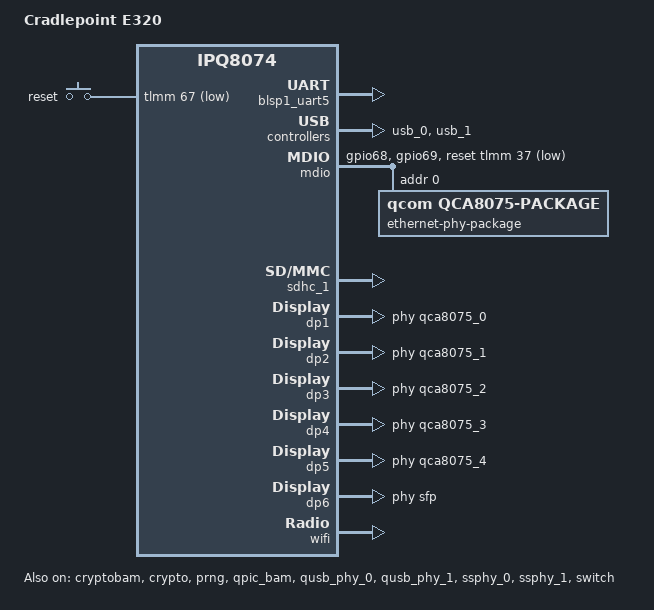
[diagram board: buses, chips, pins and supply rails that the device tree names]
// SPDX-License-Identifier: GPL-2.0-or-later OR MIT
/* Copyright (c) 2023, Chukun Pan <amadeus@jmu.edu.cn> */

/dts-v1/;

#include "ipq8074.dtsi"
#include "ipq8074-hk-cpu.dtsi"
#include "ipq8074-ess.dtsi"
#include "ipq8074-nss.dtsi"
#include <dt-bindings/gpio/gpio.h>
#include <dt-bindings/input/input.h>
#include <dt-bindings/leds/common.h>

/ {
	model = "Cradlepoint E320";
	compatible = "cradlepoint,e320", "qcom,ipq8074";

	aliases {
		serial0 = &blsp1_uart5;
		/*
		 * Aliases as required by u-boot
		 * to patch MAC addresses
		 */
		ethernet0 = &dp1;
		ethernet1 = &dp2;
		ethernet2 = &dp3;
		ethernet3 = &dp4;
		ethernet4 = &dp5;
		ethernet5 = &dp6;
		label-mac-device = &dp1;
	};

	chosen {
		stdout-path = "serial0:115200n8";
	};

	keys {
		compatible = "gpio-keys";

		reset {
			label = "reset";
			linux,code = <KEY_RESTART>;
			gpios = <&tlmm 67 GPIO_ACTIVE_LOW>;
		};
	};
};

&tlmm {
	mdio_pins: mdio-pins {
		mdc {
			pins = "gpio68";
			function = "mdc";
			drive-strength = <8>;
			bias-pull-up;
		};

		mdio {
			pins = "gpio69";
			function = "mdio";
			drive-strength = <8>;
			bias-pull-up;
		};
	};
};

&blsp1_uart5 {
	status = "okay";
};

&cryptobam {
	status = "okay";
};

&crypto {
	status = "okay";
};

&prng {
	status = "okay";
};

&qpic_bam {
	status = "okay";
};

&qusb_phy_0 {
	status = "okay";
};

&qusb_phy_1 {
	status = "okay";
};

&ssphy_0 {
	status = "okay";
};

&ssphy_1 {
	status = "okay";
};

&usb_0 {
	status = "okay";
};

&usb_1 {
	status = "okay";
};

&mdio {
	status = "okay";

	pinctrl-0 = <&mdio_pins>;
	pinctrl-names = "default";
	reset-gpios = <&tlmm 37 GPIO_ACTIVE_LOW>;

	ethernet-phy-package@0 {
		compatible = "qcom,qca8075-package";
		#address-cells = <1>;
		#size-cells = <0>;
		reg = <0>;

		qcom,package-mode = "psgmii";

		qca8075_0: ethernet-phy@0 {
			compatible = "ethernet-phy-ieee802.3-c22";
			reg = <0>;
		};

		qca8075_1: ethernet-phy@1 {
			compatible = "ethernet-phy-ieee802.3-c22";
			reg = <1>;
		};

		qca8075_2: ethernet-phy@2 {
			compatible = "ethernet-phy-ieee802.3-c22";
			reg = <2>;
		};

		qca8075_3: ethernet-phy@3 {
			compatible = "ethernet-phy-ieee802.3-c22";
			reg = <3>;
		};

		qca8075_4: ethernet-phy@4 {
			compatible = "ethernet-phy-ieee802.3-c22";
			reg = <4>;
		};
	};
};

&sdhc_1 {
	status = "okay";

	/* According to the stock dts from the QNAP gpl drop
	 * the emmc has a problem with the hs400 > hs200 speed switch.
	 * Therefore remove the mmc-hs400-1_8v property
	*/
	/delete-property/ mmc-hs400-1_8v;
	mmc-hs200-1_8v;
	mmc-ddr-1_8v;
	vqmmc-supply = <&l11>;
};

&switch {
	status = "okay";

	switch_lan_bmp = <(ESS_PORT2 | ESS_PORT3 | ESS_PORT4 | ESS_PORT5 | ESS_PORT6)>; /* lan port bitmap */
	switch_wan_bmp = <ESS_PORT1>; /* wan port bitmap */
	switch_mac_mode = <MAC_MODE_PSGMII>; /* mac mode for uniphy instance0*/
	switch_mac_mode2 = <MAC_MODE_10GBASE_R>; /* mac mode for uniphy instance2*/

	qcom,port_phyinfo {
		port@1 {
			port_id = <1>;
			phy_address = <0>;
		};
		port@2 {
			port_id = <2>;
			phy_address = <1>;
		};
		port@3 {
			port_id = <3>;
			phy_address = <2>;
		};
		port@4 {
			port_id = <4>;
			phy_address = <3>;
		};
		port@5 {
			port_id = <5>;
			phy_address = <4>;
		};
		sfp: port@6 {
			port_id = <6>;
			phy_address = <29>;
			phy_i2c_address = <29>;
			phy-i2c-mode; /*i2c access phy */
			media-type = "sfp"; /* fiber mode */
		};
	};
};

&edma {
	status = "okay";
};

&dp1 {
	status = "okay";
	phy-handle = <&qca8075_0>;
	label = "wan";
};

&dp2 {
	status = "okay";
	phy-handle = <&qca8075_1>;
	label = "lan4";
};

&dp3 {
	status = "okay";
	phy-handle = <&qca8075_2>;
	label = "lan3";
};

&dp4 {
	status = "okay";
	phy-handle = <&qca8075_3>;
	label = "lan2";
};

&dp5 {
	status = "okay";
	phy-handle = <&qca8075_4>;
	label = "lan1";
};

&dp6 {
	status = "okay";
	phy-handle = <&sfp>;
	label = "10g-sfp";
};

&wifi {
	status = "okay";

	qcom,ath11k-calibration-variant = "Cradlepoint-E320";
};
